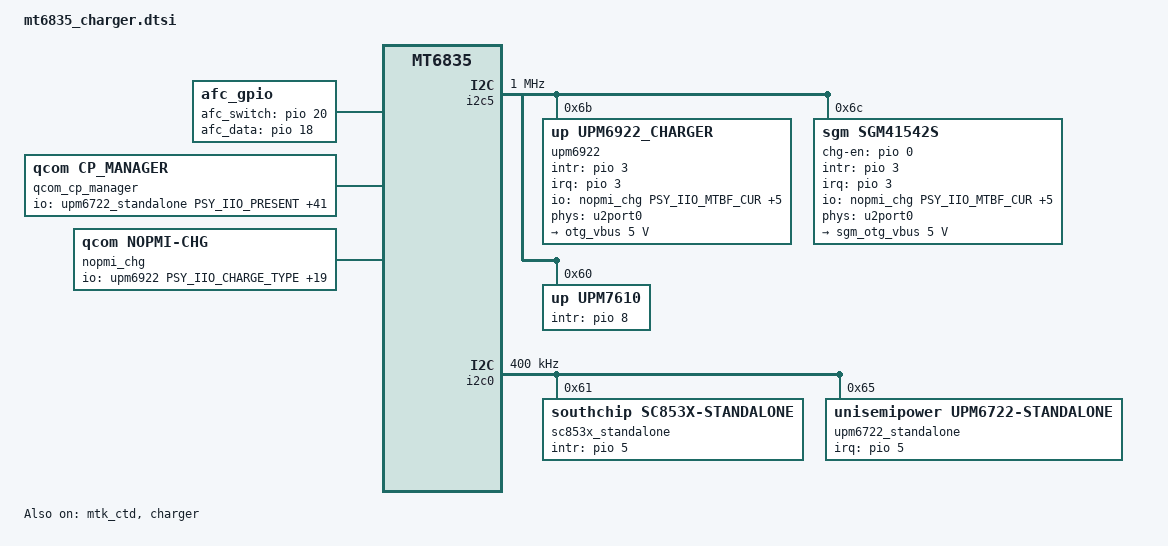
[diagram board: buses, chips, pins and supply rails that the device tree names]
#include <dt-bindings/iio/qti_power_supply_iio.h>
&pio {
    afc_data_default: afc_data_default {
        pins_cmd_dat {
            pinmux = <PINMUX_GPIO18__FUNC_GPIO18>;
            bias-disable;
        };
    };
    afc_data_active: afc_data_active {
        pins_cmd_dat {
            pinmux = <PINMUX_GPIO18__FUNC_GPIO18>;
            bias-pull-up;
        };
    };
    afc_data_sleep: afc_data_sleep {
        pins_cmd_dat {
            pinmux = <PINMUX_GPIO18__FUNC_GPIO18>;
            bias-disable;
            input-enable;
        };
    };
};
&i2c5 {
	clock-frequency = <1000000>;

	upm6922:upm6922@6b {
		status = "okay";
		compatible = "up,upm6922_charger";
		reg = <0x6b>;
		extcon = <&afc_gpio>;
		#io-channel-cells = <1>;
		interrupt-parent = <&pio>;
		interrupts = <3 IRQ_TYPE_EDGE_FALLING 3 0>;
		up,intr_gpio = <&pio 3 0>;
		charger_name = "primary_chg";
		bootmode = <&chosen>;
		up,upm6922,ichg = <3300>;				/* unit:1mA */
		up,upm6922,iprechg = <180>;            /* unit:1mA */
		up,upm6922,iterm = <320>;              /* unit:1mA */
		up,upm6922,vreg = <4470>;              /* unit:1mV */
		up,upm6922,vindpm = <4500>;            /* unit:1mV */
		up,upm6922,boostv = <5000>;            /* unit:1mV */
		up,upm6922,boosti = <1200>;            /* unit:1mA */
		up,upm6922,vac-ovp = <14000>;          /* unit:1mV */
		//up,upm6922,continuous-adc-enable;
                
		phys = <&u2port0 PHY_TYPE_USB2>;
		phy-names = "usb2-phy";
		usb = <&ssusb>;
		otg_vbus: usb-otg-vbus {
			regulator-compatible = "usb-otg-vbus";
			regulator-name = "usb-otg-vbus";
			regulator-min-microvolt = <5000000>;
			regulator-max-microvolt = <5000000>;
			regulator-min-microamp = <500000>;
			regulator-max-microamp = <1200000>;
		};
	};
	
        sgm41542S:sgm41542S@6c {
              status = "okay";
              compatible = "sgm,sgm41542S";
              reg = <0x6c>;
              #io-channel-cells = <1>;
              interrupt-parent = <&pio>;
              interrupts = <3 IRQ_TYPE_EDGE_FALLING 3 0>;
              sgm,chg-en-gpio = <&pio 0 0>;
              sgm,intr_gpio = <&pio 3 0>;
              charger_name = "primary_chg";
              bootmode = <&chosen>;
              phys = <&u2port0 PHY_TYPE_USB2>;
              phy-names = "usb2-phy";
              usb = <&ssusb>;
              sgm_otg_vbus: sgm-usb-otg-vbus {
                      regulator-compatible = "sgm-usb-otg-vbus";
                      regulator-name = "usb-otg-vbus";
                      regulator-min-microvolt = <5000000>;
                      regulator-max-microvolt = <5000000>;
                      regulator-min-microamp = <500000>;
                      regulator-max-microamp = <1200000>;
        	};
        };
	
	upm7610@60 {
		compatible = "up,upm7610";
		reg = <0x60>;
		status = "okay";
		rt-tcpc,name = "type_c_port0"; /* tcpc_device's name */
		rt-tcpc,role_def = <5>; /* 0: Unknown, 1: SNK, 2: SRC */
					/* 3: DRP, 4: Try.SRC, 5: Try.SNK */
		rt-tcpc,rp_level = <0>; /* 0: Default, 1: 1.5, 2: 3.0 */
		rt-tcpc,vconn_supply  = <0>;  /* 0: Never, 1: Always, */
					      /* 2: EMarkOnly, 3: StartOnly */
		rt-tcpc,notifier_supply_num = <3>;
		upm7610pd,intr_gpio = <&pio 8 0x0>;
		upm7610pd,intr_gpio_num = <8>;
		pd-data {
			pd,vid = <0x362f>;
			pd,pid = <0x7610>;
			pd,source-cap-ext = <0x7610362f 0x00000000 0x00000000
					     0x00000000 0x00000000 0x02000000>;
			pd,mfrs = "UnisemipowerTCPC";

			/*
			 *	VSAFE5V = 0, MAX_POWER = 1, CUSTOM = 2,
			 *	MAX_POWER_LV = 0x21, MAX_POWER_LVIC = 0x31
			 *	MAX_POWER_HV = 0x41, MAX_POWER_HVIC = 0x51
			 */
			pd,charging_policy= <0x31>;

			/*
			 * Fixed 5V, 500 mA <0x00019032>
			 * Fixed 5V, 1A <0x00019064>
			 * Fixed 5V, 2A <0x000190c8>
			 * Fixed 5V, 3A <0x0001912c>
			 * Fixed 9V, 500 mA <0x0002d032>
			 * Fixed 9V, 1A <0x0002d064>
			 * Fixed 9V, 2A <0x0002d0c8>
			 * Fixed 9V, 3A <0x0002d12c>
			 * Variable 5-9V, 1A <0x8642d064>
			 * Variable 5-9V, 2A <0x8642d0c8>
			 * Variable 5-9V, 3A <0x8642d12c>
			 * PPS 3V~5.9V, 3A <0xC0761E3C>
			 */
			pd,source-pdo-size = <1>;
            pd,source-pdo-data = <0x00019078>;
            pd,sink-pdo-size = <3>;
            pd,sink-pdo-data = <0x000190c8 0x0002d0a7 0xC0B43237>; //5V,1.5A 9V,1.67A

			/*
			 * No DP, host + device
			 *	pd,id-vdo-size = <6>;
			 *	pd,id-vdo-data = <0xd14029cf 0x0 0x17110000
						  0x41800000 0x0 0x21800000>;
			 * With DP
			 *	pd,id-vdo-size = <6>;
			 *	pd,id-vdo-data = <0xd54029cf 0x0 0x17110000
						  0x41800000 0x0 0x21800000>;
			 */

			pd,id-vdo-size = <6>;
			pd,id-vdo-data = <0xd140362f 0x0 0x76100000
					  0x41800000 0x0 0x21800000>;

			bat,nr = <1>;
			pd,country_nr = <0>;

			bat-info0 {
				bat,vid = <0x362f>;
				bat,pid = <0x7610>;
				bat,mfrs = "bat1";
				bat,design_cap = <3000>;
			};

			//bat-info1 {
			//	bat,vid = <0x8abc>;
			//	bat,pid = <0x5234>;
			//	bat,mfrs = "bat2";
			//	bat,design_cap = <4000>;
			//};

			//country0 {
			//	pd,country_code = <0x5457>;
			//	pd,country_len = <2>; /* max len = 26 */
			//	pd,country_data = <0xff 0xff>;
			//};

			//country1 {
			//	pd,country_code = <0x5553>;
			//	pd,country_len = <3>; /* max len = 26 */
			//	pd,country_data = <0xf1 0xf2 0xf3>;
			//};
		};
		dpm_caps {
			local_dr_power;
			local_dr_data;
			//local_ext_power;
			local_usb_comm;
			//local_usb_suspend;
			//local_high_cap;
			//local_give_back;
			local_no_suspend;
			local_vconn_supply;

			//attemp_discover_cable_dfp;
			attemp_enter_dp_mode;
			attemp_discover_cable;
			attemp_discover_id;

			/* 0: disable, 1: prefer_snk, 2: prefer_src */
			pr_check = <0>;
			//pr_reject_as_source;
			//pr_reject_as_sink;
			//pr_check_gp_source;
			//pr_check_gp_sink;

			/* 0: disable, 1: prefer_ufp, 2: prefer_dfp */
			dr_check = <0>;
			//dr_reject_as_dfp;
			//dr_reject_as_ufp;
		};
		displayport {
			/* connection type = "both", "ufp_d", "dfp_d" */
			1st_connection = "dfp_d";
			2nd_connection = "dfp_d";
			signal,dp_v13;
			//signal,dp_gen2;
			//usbr20_not_used;
			typec,receptacle;
			ufp_d {
				//pin_assignment,mode_a;
				//pin_assignment,mode_b;
				//pin_assignment,mode_c;
				//pin_assignment,mode_d;
				//pin_assignment,mode_e;
			};
			dfp_d {
				//pin_assignment,mode_a;
				//pin_assignment,mode_b;
				pin_assignment,mode_c;
				pin_assignment,mode_d;
				pin_assignment,mode_e;
				//pin_assignment,mode_f;
			};
		};
	};	

};

&mtk_ctd {
	status = "okay";
};

&charger {
	status = "okay";
};


&i2c0{
	clock-frequency = <400000>;
        
	sc853x_standalone: sc853x-charger@61{
        compatible = "southchip,sc853x-standalone";
        reg = <0x61>;
		status = "okay";
        //sc853x,intr_gpio = <&gpio3 RK_PA2 IRQ_TYPE_EDGE_FALLING>;
		sc853x,intr_gpio = <&pio 5 0>;
		#io-channel-cells = <1>;

        sc,sc853x,vbat-ovp-dis = <0>;
        sc,sc853x,vbat-ovp = <90>; /*3840 + val * 10*/
        sc,sc853x,ibat-ocp-dis = <1>;
        sc,sc853x,ibat-ocp = <81>; /*val * 100*/
        sc,sc853x,vbus-ovp-dis = <0>;
        sc,sc853x,vbus-ovp = <3>; /*9250 + val * 250*/
        sc,sc853x,vac-ovp-dis = <0>;
        sc,sc853x,vac-ovp = <4>; /*0:6.5V 1:11V 2:12V 3:13V 4:14V 5~7:15V*/
        sc,sc853x,ibus-ocp-dis = <1>;
        sc,sc853x,ibus-ocp = <100>; /*val * 50*/
        sc,sc853x,pmid2out-ovp-dis = <0>;
        sc,sc853x,pmid2out-ovp = <0>; /*400 + val * 100*/
        sc,sc853x,pmid2out-uvp-dis = <0>;
        sc,sc853x,pmid2out-uvp = <1>; /*100 + val * 50*/
        sc,sc853x,ibatreg = <0>; /*200 + val * 100*/
        sc,sc853x,ibusreg = <0>; /*100 + val * 50*/
        sc,sc853x,vbatreg = <0>; /*50 + val * 50*/
        sc,sc853x,tdiereg = <1>; /*0:90°C 1:100°C 2:110°C 3:120°C*/
        sc,sc853x,them-flt = <24>; /*val * 25*/
        sc,sc853x,ibat-sns-res = <0>; /*0:2hmo 1:5hmo*/
        sc,sc853x,pmid-pd-en = <0>;
        sc,sc853x,vbus-pd-en = <0>;
        sc,sc853x,work-mode = <0>; /*0: 2:1charge   1: 1:1charge 
                                     2: 1:2converte 3: 1:1converte*/
        sc,sc853x,ss-timeout = <7>; /*0:disable 1:10ms 2:20ms 3:400ms
                                    4:80ms 5:320ms 6:1.28s 7:10.24s*/
        sc,sc853x,wd-timeout-dis = <1>;
        sc,sc853x,wd-timeout = <0>; /*0:0.5s 1:1s 2:5s 3:30s*/
        sc,sc853x,vout-ovp-dis = <0>;
        sc,sc853x,vout-ovp = <3>; /*4700 + val * 100*/
        sc,sc853x,fsw-freq = <7>; /*500 + val * 100*/
        sc,sc853x,pin-diag-fall-dis = <0>;
        sc,sc853x,them-flt-dis = <1>;
        sc,sc853x,tshut-dis = <1>;
        sc,sc853x,vbus-in-range-dis = <0>;
        sc,sc853x,ibus-ucp-dis = <0>;
        sc,sc853x,ibat-reg-dis = <0>;
        sc,sc853x,ibus-reg-dis = <0>;
        sc,sc853x,vbat-reg-dis = <0>;
        sc,sc853x,tdie-reg-dis = <1>;
        sc,sc853x,ibat-ocp-dg = <0>; /*0:160us 1:80us 2:320us 3:5ms*/
        sc,sc853x,ibus-ucp-fall-dg = <1>; /*0:8us 1:5ms 2:40ms 3:160ms*/
        sc,sc853x,ibus-ocp-dg = <0>; /*0:160us 1:80us 2:320us 3:5ms*/
        sc,sc853x,vbat-ovp-dg = <0>; /*0:8us 1:160us 2:320us 3:5ms*/
    };
	
	upm6722_standalone:upm6722-charger@65{
		status = "okay";
		compatible = "unisemipower,upm6722-standalone";
		reg = <0x65>;		//I2C1 SENSOR_I2C
		upm6722,irq-gpio = <&pio 5 0>;
		#io-channel-cells = <1>;
        upm6722,bat-ovp-disable;
        //upm6722,bat-ocp-disable;
        //upm6722,bus-ucp-disable;
        //upm6722,bus-rcp-disable;
        //upm6722,vout-ovp-disable;
        //upm6722,tdie-flt-disable;
        upm6722,tsbus-flt-disable;
        upm6722,tsbat-flt-disable;
        upm6722,wdt-disable;
        //upm6722,vbus-errhi-disable;

		upm6722,bat-ovp-threshold = <4525>;			/* unit: 1mV */
		upm6722,bat-ocp-threshold = <8200>;			/* unit: 1mA */
		upm6722,bus-ovp-threshold = <12000>;		/* unit: 1mV */
		upm6722,bus-ocp-threshold = <5100>;			/* unit: 1mA */
		upm6722,bus-ucp-threshold = <250>;			/* unit: 1mA */
		upm6722,bus-rcp-threshold = <300>;			/* unit: 1mA */
		upm6722,vac1-ovp-threshold = <14000>;		/* unit: 1mV */
		upm6722,vac2-ovp-threshold = <14000>;		/* unit: 1mV */
		upm6722,vout-ovp-threshold = <5000>;		/* unit: 1mV */
		upm6722,tdie-flt-threshold = <140>;			/* unit: 1℃ */
		upm6722,tsbus-flt-threshold = <4102>;		/* unit: 0.001% */
		upm6722,tsbat-flt-threshold = <4102>;		/* unit: 0.001% */
		
		// upm6722,bat-ovp-mask;
		// upm6722,bat-ocp-mask;
		// upm6722,bus-ovp-mask;
		// upm6722,bus-ocp-mask;
		// upm6722,bus-ucp-mask;
		// upm6722,bus-rcp-mask;
		// upm6722,vout-ovp-mask;
		// upm6722,vac1-ovp-mask;
		// upm6722,vac2-ovp-mask;

		// upm6722,vout-present-mask;
		// upm6722,vac1-present-mask;
		// upm6722,vac2-present-mask;
		// upm6722,vbus-present-mask;
		// upm6722,acrb1-config-mask;
		// upm6722,acrb2-config-mask;
		// upm6722,cfly-short-mask;
		// upm6722,adc-done-mask;
		// upm6722,ss-timeout-mask;
		// upm6722,tsbus-flt-mask;
		// upm6722,tsbat-flt-mask;
		// upm6722,tdie-flt-mask;
		// upm6722,wd-mask;
		// upm6722,regn-good-mask;
		// upm6722,conv-active-mask;
		// upm6722,vbus-errhi-mask;

		// upm6722,bat-ovp-alm-disable;
		// upm6722,bat-ocp-alm-disable;
		// upm6722,bat-ucp-alm-disable;
		// upm6722,bus-ovp-alm-disable;
		// upm6722,tdie-alm-disable;

		upm6722,bat-ovp-alm-threshold = <4510>;		/* unit: 1mV */
		upm6722,bat-ocp-alm-threshold = <8000>;		/* unit: 1mA */
		upm6722,bat-ucp-alm-threshold = <0>;		/* unit: 1mA */
		upm6722,bus-ovp-alm-threshold = <11800>;	/* unit: 1mV */
		upm6722,bus-ocp-alm-threshold = <5000>;		/* unit: 1mA */
		upm6722,tdie-alm-threshold = <125>;			/* unit: 1℃ */

		// upm6722,bat-ovp-alm-mask;
		// upm6722,bat-ocp-alm-mask;
		// upm6722,bat-ucp-alm-mask;
		// upm6722,bus-ovp-alm-mask;
		// upm6722,bus-ocp-alm-mask;
		// upm6722,tsbus-tsbat-alm-mask;	
		// upm6722,tdie-alm-mask;	

		// upm6722,bus-pulldown-en;
		// upm6722,vac1-pulldown-en;
		// upm6722,vac2-pulldown-en;

		upm6722,sense-resistor-mohm = <5>;	/* unit: 1mohm */
		upm6722,ss-timeout = <10000>;		/* unit: 1ms */
		upm6722,wdt-set = <30000>;			/* unit: 1ms */
		upm6722,chg-config-1 = <1>;
		upm6722,fsw-set = <5>;				/*0:230K 1:310K 2:370K 3:460K 4:610K 5:970k*/
		upm6722,freq-shift = <0>;
		upm6722,ibus-ucp-fall-dg-sel = <0>;

		upm6722,adc-enable;
		upm6722,adc-rate = <0>;
		upm6722,adc-avg = <0>;
		upm6722,adc-avg-init = <0>;
		upm6722,adc-sample-bit = <0>;
		// upm6722,ibus-adc-disable;
		// upm6722,vbus-adc-disable;
		// upm6722,vac1-adc-disable;
		// upm6722,vac2-adc-disable;
		// upm6722,vout-adc-disable;
		// upm6722,vbat-adc-disable;
		// upm6722,ibat-adc-disable;
		// upm6722,tsbus-adc-disable;
		// upm6722,tsbat-adc-disable;
		// upm6722,tdie-adc-disable;
	};

};

&soc {
	afc_gpio: afc_gpio {
		compatible = "afc_gpio";
		afc_switch_gpio = <&pio 20 0x00>;
		afc_data_gpio = <&pio 18 0x00>;
		pinctrl-names = "default", "active", "sleep";
		pinctrl-0 = <&afc_data_default>;
		pinctrl-1 = <&afc_data_active>;
		pinctrl-2 = <&afc_data_sleep>;
	};
    qcom_cp_manager {
		compatible = "qcom,cp_manager";
		status = "okay";
		#io-channel-cells = <1>;
		io-channels =<&upm6722_standalone PSY_IIO_PRESENT>,
		<&upm6722_standalone PSY_IIO_CHARGING_ENABLED>,
		<&upm6722_standalone PSY_IIO_STATUS>,
		<&upm6722_standalone PSY_IIO_UPM6722_BATTERY_PRESENT>,
		<&upm6722_standalone PSY_IIO_UPM6722_VBUS_PRESENT>,
		<&upm6722_standalone PSY_IIO_UPM6722_BATTERY_VOLTAGE>,
		<&upm6722_standalone PSY_IIO_UPM6722_BATTERY_CURRENT>,
		<&upm6722_standalone PSY_IIO_UPM6722_BATTERY_TEMPERATURE>,
		<&upm6722_standalone PSY_IIO_UPM6722_BUS_VOLTAGE>,
		<&upm6722_standalone PSY_IIO_UPM6722_BUS_CURRENT>,
		<&upm6722_standalone PSY_IIO_UPM6722_BUS_TEMPERATURE>,
		<&upm6722_standalone PSY_IIO_UPM6722_DIE_TEMPERATURE>,
		<&upm6722_standalone PSY_IIO_UPM6722_ALARM_STATUS>,
		<&upm6722_standalone PSY_IIO_UPM6722_FAULT_STATUS>,
		<&upm6722_standalone PSY_IIO_UPM6722_VBUS_ERROR_STATUS>,
		<&nopmi_chg PSY_IIO_PPS_CHARGE_DISABLE>,
		<&nopmi_chg PSY_IIO_QUICK_CHARGE_DISABLE>,
		<&nopmi_chg PSY_IIO_CHARGING_ENABLED>,
		//<&upm6922 PSY_IIO_CHARGE_ENABLED>,
		//<&sgm41542S PSY_IIO_CHARGE_ENABLED>,

		<&sc853x_standalone PSY_IIO_PRESENT>,
		<&sc853x_standalone PSY_IIO_CHARGING_ENABLED>,
		<&sc853x_standalone PSY_IIO_STATUS>,
		<&sc853x_standalone PSY_IIO_UPM6722_BATTERY_PRESENT>,
		<&sc853x_standalone PSY_IIO_UPM6722_VBUS_PRESENT>,
		<&sc853x_standalone PSY_IIO_UPM6722_BATTERY_VOLTAGE>,
		<&sc853x_standalone PSY_IIO_UPM6722_BATTERY_CURRENT>,
		<&sc853x_standalone PSY_IIO_UPM6722_BATTERY_TEMPERATURE>,
		<&sc853x_standalone PSY_IIO_UPM6722_BUS_VOLTAGE>,
		<&sc853x_standalone PSY_IIO_UPM6722_BUS_CURRENT>,
		<&sc853x_standalone PSY_IIO_UPM6722_BUS_TEMPERATURE>,
		<&sc853x_standalone PSY_IIO_UPM6722_DIE_TEMPERATURE>,
		<&sc853x_standalone PSY_IIO_UPM6722_ALARM_STATUS>,
		<&sc853x_standalone PSY_IIO_UPM6722_FAULT_STATUS>,
		<&sc853x_standalone PSY_IIO_UPM6722_VBUS_ERROR_STATUS>,
	   // upm6722_standalone IO channels is number 15
		
		<&bms_pd PSY_IIO_PD_ACTIVE>,
		<&bms_pd PSY_IIO_PD_USB_SUSPEND_SUPPORTED>,
		<&bms_pd PSY_IIO_PD_IN_HARD_RESET>,
		<&bms_pd PSY_IIO_PD_CURRENT_MAX>,
		<&bms_pd PSY_IIO_PD_VOLTAGE_MIN>,
		<&bms_pd PSY_IIO_PD_VOLTAGE_MAX>,
		<&bms_pd PSY_IIO_USB_REAL_TYPE>,
		<&bms_pd PSY_IIO_TYPEC_CC_ORIENTATION>,
		<&bms_pd PSY_IIO_TYPEC_MODE>;
		// bms_pd IO channels is number 9
				
			
		io-channel-names = "present",
		"charging_enabled",
		"status",
		"upm6722_battery_present",
		"upm6722_vbus_present",
		"upm6722_battery_voltage",
		"upm6722_battery_current",
		"upm6722_battery_temperature",
		"upm6722_bus_voltage",
		"upm6722_bus_current",
		"upm6722_bus_temperature",
		"upm6722_die_temperature",
		"upm6722_alarm_status",
		"upm6722_fault_status",
		"upm6722_vbus_error_status",
		"pps_charge_disable",
		"quick_charge_disable",
        "battery_charging_enabled",
		//"upm_charge_enabled",
		//"sgm_charge_enabled", 


        "sc_present",
		"sc_charging_enabled",
		"sc_status",
		"sc_battery_present",
		"sc_vbus_present",
		"sc_battery_voltage",
		"sc_battery_current",
		"sc_battery_temperature",
		"sc_bus_voltage",
		"sc_bus_current",
		"sc_bus_temperature",
		"sc_die_temperature",
		"sc_alarm_status",
		"sc_fault_status",
		"sc_vbus_error_status",
		//upm6722 channel name is number 15
		
		"pd_active",
		"pd_usb_suspend_supported",
		"pd_in_hard_reset",
		"pd_current_max",
		"pd_voltage_min",
		"pd_voltage_max",
		"pd_usb_real_type",
		"typec_cc_orientation",
		"typec_mode";
		//bms_pd channel name is number 9
	};
	bms_pd:bms_pd {
		status = "ok";
		#io-channel-cells = <1>;
		compatible = "rt,bms-pd";
	};

	nopmi_chg: qcom,nopmi-chg{
		#io-channel-cells = <1>;
		compatible = "qcom,nopmi-chg";
		status = "okay";
		qcom,fv-max-uv = <4423000>;

		/* sw jeita */
		enable_sw_jeita;
		normal-charge-voltage = <4470>;
		jeita_temp_above_t4_cv = <4100>;
		jeita_temp_t3_to_t4_cv = <4250>;
		jeita_temp_t2_to_t3_cv = <4280>;
		jeita_temp_t2_to_t3_p_cv = <4160>;
		jeita_temp_t1p5_to_t2_cv = <4423>;
		jeita_temp_t1_to_t1p5_cv = <4423>;
		jeita_temp_t0_to_t1_cv = <4423>;
		jeita_temp_tn1_to_t0_cv = <4423>;
		jeita_temp_below_t0_cv = <4423>;
		temp_t4_thres = <55>;
		temp_t4_plus_thres = <45>;
		temp_t4_thres_minus_x_degree = <55>;
		temp_t3_thres = <45>;
		temp_t3_thres_minus_x_degree = <45>;
		temp_t2_thres = <15>;
		temp_t2_thres_plus_x_degree = <15>;
		temp_t1p5_thres = <12>;
		temp_t1p5_thres_plus_x_degree = <12>;
		temp_t1_thres = <5>;
		temp_t1_thres_plus_x_degree = <5>;
		temp_t0_thres = <(-5)>;
		temp_t0_thres_plus_x_degree = <(-5)>;
		temp_tn1_thres = <0>;
		temp_tn1_thres_plus_x_degree = <0>;
		temp_neg_10_thres = <0>;
		temp_t3_to_t4_fcc = <3800>;
		temp_t3_plus_fcc = <3800>;
		temp_t2_to_t3_fcc = <4800>;
		temp_t2_to_t3_p_fcc = <5500>;
		temp_t1p5_to_t2_fcc = <3800>;
		temp_t1_to_t1p5_fcc = <1400>;
		temp_t0_to_t1_fcc = <480>;
		temp_tn1_to_t0_fcc = <0>;

        /* thermal */
        nopmi,thermal-mitigation = <(-1) 4000000 3500000 3000000 2500000 2000000 1500000 1000000 500000 0>;
	};
};

&nopmi_chg {
	io-channels = 
			<&upm6922 PSY_IIO_CHARGE_TYPE>,
			<&upm6922 PSY_IIO_CHARGE_ENABLED>,
			<&upm6922 PSY_IIO_CHARGE_DISABLE>,
			<&upm6922 PSY_IIO_USB_MA>,
			<&upm6922 PSY_IIO_CHARGE_AFC>,
                        <&upm6922 PSY_IIO_CHARGE_AFC_DISABLE>,
			<&upm6922 PSY_IIO_RESISTANCE_ID>,
			<&upm6722_standalone PSY_IIO_UPM6722_BATTERY_VOLTAGE>,
			<&upm6722_standalone PSY_IIO_UPM6722_BUS_VOLTAGE>,
			<&upm6722_standalone PSY_IIO_UPM6722_BUS_CURRENT>,
			<&sc853x_standalone PSY_IIO_UPM6722_BATTERY_VOLTAGE>,
			<&sc853x_standalone PSY_IIO_UPM6722_BUS_VOLTAGE>,
			<&sc853x_standalone PSY_IIO_UPM6722_BUS_CURRENT>,
			<&sgm41542S PSY_IIO_CHARGE_TYPE>,
			<&sgm41542S PSY_IIO_CHARGE_ENABLED>,
			<&sgm41542S PSY_IIO_CHARGE_DISABLE>,
			<&sgm41542S PSY_IIO_USB_MA>,
			<&sgm41542S PSY_IIO_CHARGE_AFC>,
            <&sgm41542S PSY_IIO_CHARGE_AFC_DISABLE>,
			<&sgm41542S PSY_IIO_RESISTANCE_ID>;
	io-channel-names = 
			"charge_type",
			"charge_enabled",
			"charge_disable",
			"charge_usb_ma",
			"charge_afc",
            "charge_afc_disable",
			"resistance_id",
			"upm6722_battery_voltage",
			"upm6722_bus_voltage",
			"upm6722_bus_current",
			"sc_battery_voltage",
			"sc_bus_voltage",
			"sc_bus_current",
			"sgm_charge_type",
			"sgm_charge_enabled",
			"sgm_charge_disable",
			"sgm_charge_usb_ma",
			"sgm_charge_afc",
            "sgm_charge_afc_disable",
			"sgm_resistance_id";
};

&upm6922 {
	io-channels = 
			<&nopmi_chg PSY_IIO_MTBF_CUR>,
			<&nopmi_chg PSY_IIO_USB_REAL_TYPE>,
			<&nopmi_chg PSY_IIO_TYPEC_CC_ORIENTATION>,
			<&nopmi_chg PSY_IIO_TYPEC_MODE>,
			<&nopmi_chg PSY_IIO_INPUT_SUSPEND>,
			<&nopmi_chg PSY_IIO_CHARGE_AFC>;

	io-channel-names = 
			"mtbf_cur",
			"usb_real_type",
			"typec_cc_orientation",
			"typec_mode",
			"input_suspend",
			"charge_afc";
};

&sgm41542S {
	io-channels = 
			<&nopmi_chg PSY_IIO_MTBF_CUR>,
			<&nopmi_chg PSY_IIO_USB_REAL_TYPE>,
			<&nopmi_chg PSY_IIO_TYPEC_CC_ORIENTATION>,
			<&nopmi_chg PSY_IIO_TYPEC_MODE>,
			<&nopmi_chg PSY_IIO_INPUT_SUSPEND>,
			<&nopmi_chg PSY_IIO_CHARGE_AFC>;

	io-channel-names = 
			"sgm_mtbf_cur",
			"sgm_usb_real_type",
			"sgm_typec_cc_orientation",
			"sgm_typec_mode",
			"sgm_input_suspend",
			"sgm_charge_afc";
};
